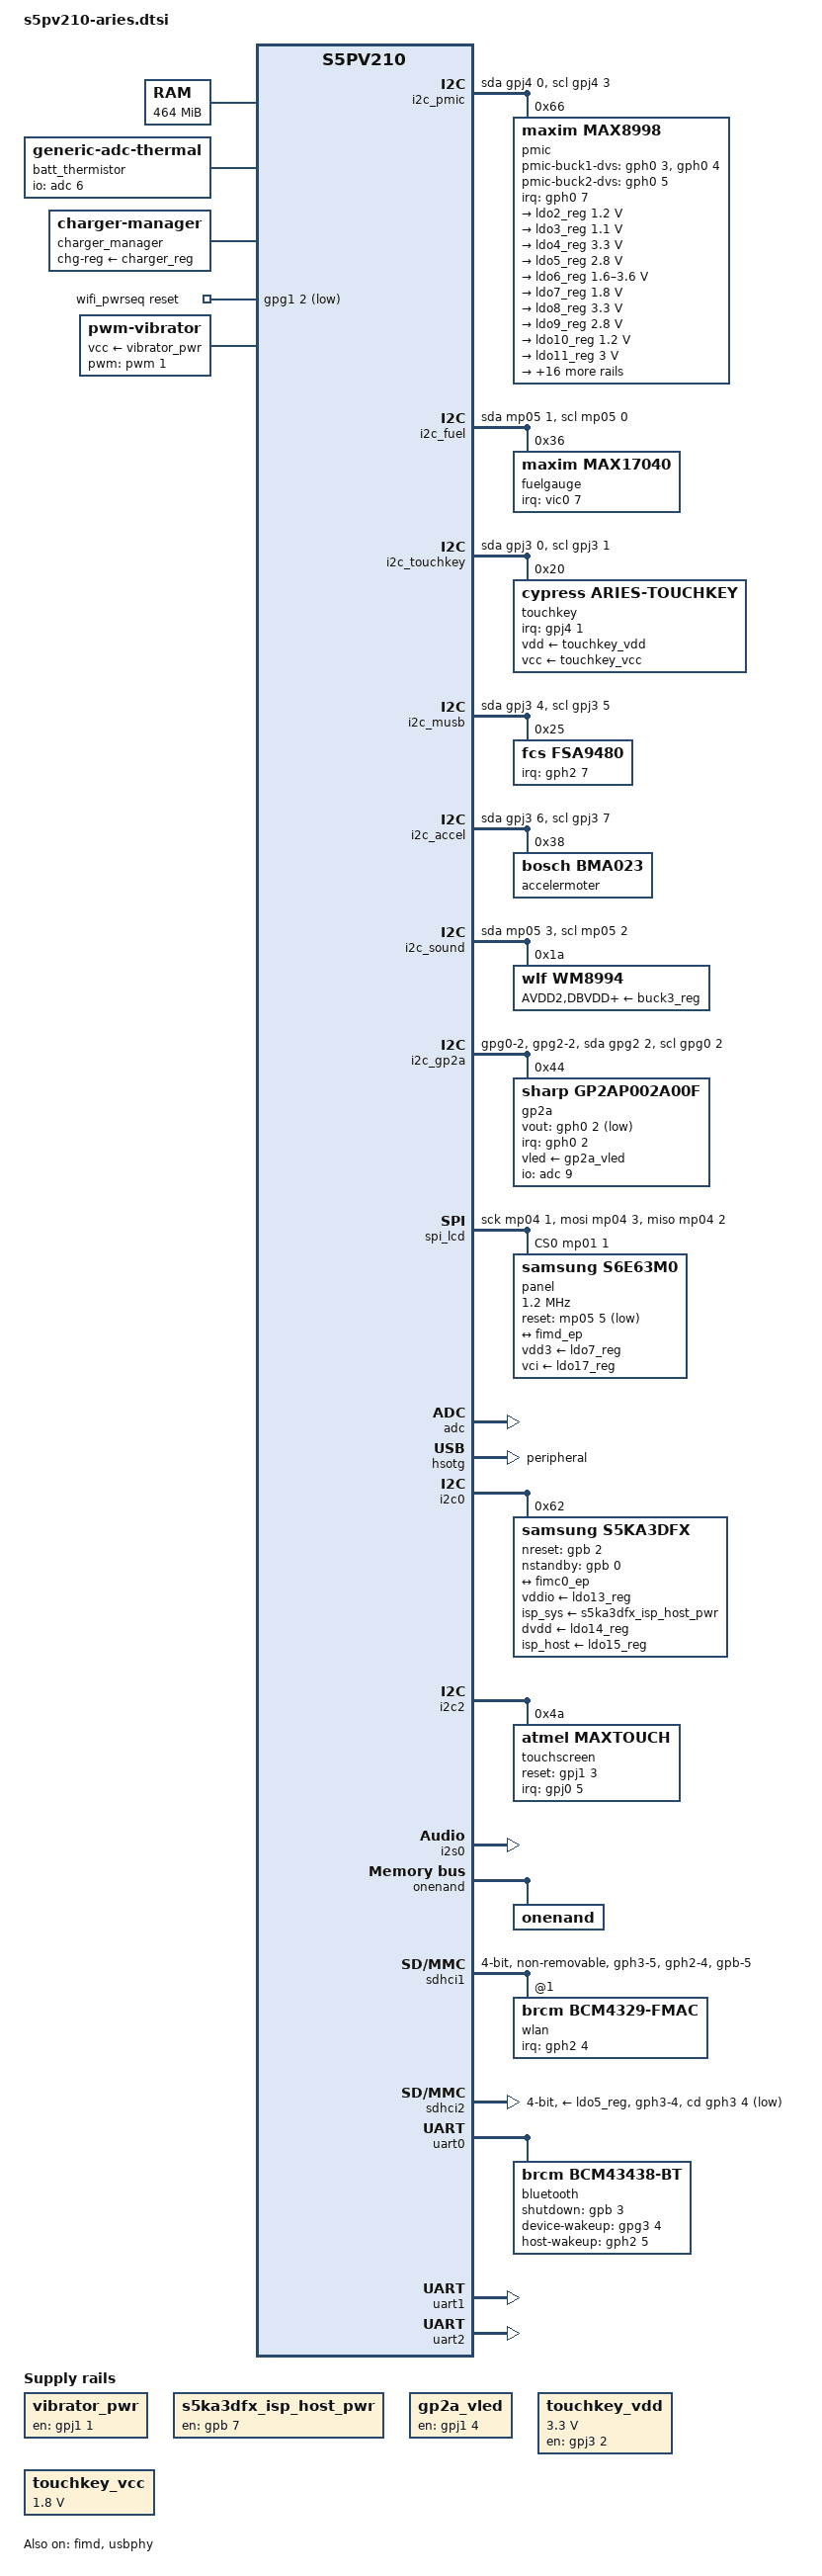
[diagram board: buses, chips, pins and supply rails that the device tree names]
// SPDX-License-Identifier: GPL-2.0
/*
 * Samsung's S5PV210 based Galaxy Aries board device tree source
 */

/dts-v1/;
#include <dt-bindings/gpio/gpio.h>
#include <dt-bindings/interrupt-controller/irq.h>
#include "s5pv210.dtsi"

/ {
	compatible = "samsung,aries", "samsung,s5pv210";

	aliases {
		i2c5 = &i2c_accel;
		i2c6 = &i2c_pmic;
		i2c7 = &i2c_musb;
		i2c9 = &i2c_fuel;
		i2c10 = &i2c_touchkey;
		i2c11 = &i2c_gp2a;
	};

	memory@30000000 {
		device_type = "memory";
		reg = <0x30000000 0x05000000
			0x40000000 0x10000000
			0x50000000 0x08000000>;
	};

	reserved-memory {
		#address-cells = <1>;
		#size-cells = <1>;
		ranges;

		mfc_left: region@43000000 {
			compatible = "shared-dma-pool";
			no-map;
			reg = <0x43000000 0x2000000>;
		};

		mfc_right: region@51000000 {
			compatible = "shared-dma-pool";
			no-map;
			reg = <0x51000000 0x2000000>;
		};
	};

	thermal-zones {
		batt_thermal: batt-thermal {
			polling-delay-passive = <60000>; /* 60 seconds */
			polling-delay = <600000>; /* 600 seconds */

			thermal-sensors = <&batt_thermistor>;
		};
	};

	batt_thermistor: thermal-sensor-0 {
		compatible = "generic-adc-thermal";
		#thermal-sensor-cells = <0>;
		io-channels = <&adc 6>;
		io-channel-names = "sensor-channel";

		temperature-lookup-table = <
			(-20000) 1859
			(-19000) 1846
			(-18000) 1832
			(-17000) 1818
			(-16000) 1804
			(-15000) 1790
			(-14000) 1773
			(-13000) 1756
			(-12000) 1739
			(-11000) 1722
			(-10000) 1705
			(-9000) 1691
			(-8000) 1677
			(-7000) 1663
			(-6000) 1649
			(-5000) 1635
			(-4000) 1550
			(-3000) 1510
			(-2000) 1500
			(-1000) 1490
			0 1480
			1000 1470
			2000 1460
			3000 1450
			4000 1430
			5000 1420
			6000 1406
			7000 1386
			8000 1366
			9000 1346
			10000 1326
			11000 1302
			12000 1278
			13000 1254
			14000 1230
			15000 1206
			16000 1182
			17000 1158
			18000 1134
			19000 1110
			20000 1086
			21000 1059
			22000 1035
			23000 1011
			24000 987
			25000 963
			26000 937
			27000 913
			28000 889
			29000 865
			30000 841
			31000 816
			32000 794
			33000 772
			34000 750
			35000 728
			36000 708
			37000 690
			38000 672
			39000 654
			40000 636
			41000 616
			42000 599
			43000 580
			44000 565
			45000 548
			46000 529
			47000 512
			48000 495
			49000 478
			50000 461
			51000 440
			52000 431
			53000 416
			54000 405
			55000 396
			56000 375
			57000 360
			58000 347
			59000 334
			60000 325
			61000 311
			62000 303
			63000 296
			64000 290
			65000 279
			66000 265
			67000 254
			68000 240
			69000 220
			70000 206>;
	};

	charger_manager: charger-manager@0 {
		compatible = "charger-manager";

		cm-name = "cm-battery";

		chg-reg-supply = <&charger_reg>;

		/* poll when externally connected */
		cm-poll-mode = <2>;
		cm-poll-interval = <30>;

		/* read supply status for status */
		cm-battery-stat = <0>;

		cm-battery-temp-diff = <5>;
		cm-battery-hot = <5000>;
		cm-battery-cold = <400>;
		cm-battery-cold-in-minus;

		/* 6hr max charging time */
		cm-charging-max = <21600000>;
		/* 1.5hr max discharging time */
		cm-discharging-max = <5400000>;

		cm-fuel-gauge = "battery";

		cm-fullbatt-vchkdrop-ms = <30000>;
		cm-fullbatt-vchkdrop-volt = <4130000>;
		cm-fullbatt-soc = <92>;

		cm-num-chargers = <1>;
		cm-chargers = "max8998_pmic";

		cm-thermal-zone = "batt-thermal";

		regulator@0 {
			cm-regulator-name = "chg-reg";
			cable@0 {
				cm-cable-name = "USB";
				cm-cable-extcon = "7-0025";
				cm-cable-min = <475000>;
				cm-cable-max = <500000>;
			};
			cable@1 {
				cm-cable-name = "TA";
				cm-cable-extcon = "7-0025";
				cm-cable-min = <380000>;
				cm-cable-max = <600000>;
			};
		};
	};

	vibrator_pwr: regulator-fixed-0 {
		compatible = "regulator-fixed";
		regulator-name = "vibrator-en";
		enable-active-high;
		gpio = <&gpj1 1 GPIO_ACTIVE_HIGH>;
	};

	s5ka3dfx_isp_host_pwr: regulator-fixed-1 {
		compatible = "regulator-fixed";
		regulator-name = "vga_isp_sys";
		enable-active-high;
		gpio = <&gpb 7 GPIO_ACTIVE_HIGH>;
	};

	wifi_pwrseq: wifi-pwrseq {
		compatible = "mmc-pwrseq-simple";
		reset-gpios = <&gpg1 2 GPIO_ACTIVE_LOW>;
		pinctrl-names = "default";
		pinctrl-0 = <&wlan_gpio_rst>;
		post-power-on-delay-ms = <500>;
		power-off-delay-us = <500>;
	};

	gp2a_vled: regulator-fixed-2 {
		compatible = "regulator-fixed";
		regulator-name = "VLED";
		enable-active-high;
		gpio = <&gpj1 4 GPIO_ACTIVE_HIGH>;

		pinctrl-names = "default";
		pinctrl-0 = <&gp2a_power>;
	};


	touchkey_vdd: touchkey-vcc {
		compatible = "regulator-fixed";
		regulator-name = "VTOUCH_3.3V";
		regulator-min-microvolt = <3300000>;
		regulator-max-microvolt = <3300000>;
		enable-active-high;
		gpio = <&gpj3 2 GPIO_ACTIVE_HIGH>;
	};

	touchkey_vcc: touchkey-vdd {
		compatible = "regulator-fixed";
		regulator-name = "VTOUCH_1.8V";
		regulator-min-microvolt = <1800000>;
		regulator-max-microvolt = <1800000>;
	};

	i2c_pmic: i2c-gpio-0 {
		compatible = "i2c-gpio";
		sda-gpios = <&gpj4 0 (GPIO_ACTIVE_HIGH | GPIO_OPEN_DRAIN)>;
		scl-gpios = <&gpj4 3 (GPIO_ACTIVE_HIGH | GPIO_OPEN_DRAIN)>;
		i2c-gpio,delay-us = <2>;
		#address-cells = <1>;
		#size-cells = <0>;

		pmic@66 {
			compatible = "maxim,max8998";
			reg = <0x66>;
			interrupt-parent = <&gph0>;
			interrupts = <7 IRQ_TYPE_EDGE_FALLING>;

			max8998,pmic-buck1-default-dvs-idx = <1>;
			max8998,pmic-buck1-dvs-gpios = <&gph0 3 GPIO_ACTIVE_HIGH>,
							<&gph0 4 GPIO_ACTIVE_HIGH>;
			max8998,pmic-buck1-dvs-voltage = <1275000>, <1200000>,
							<1050000>, <950000>;

			max8998,pmic-buck2-default-dvs-idx = <0>;
			max8998,pmic-buck2-dvs-gpio = <&gph0 5 GPIO_ACTIVE_HIGH>;
			max8998,pmic-buck2-dvs-voltage = <1100000>, <1000000>;

			wakeup-source;

			pinctrl-names = "default";
			pinctrl-0 = <&pmic_irq>;

			charger {
				maxim,end-of-charge-percentage = <20>;
				maxim,charge-timeout = <7>;
			};

			regulators {
				ldo2_reg: LDO2 {
					regulator-name = "VALIVE_1.2V";
					regulator-min-microvolt = <1200000>;
					regulator-max-microvolt = <1200000>;
					regulator-always-on;

					regulator-state-mem {
						regulator-on-in-suspend;
					};
				};

				ldo3_reg: LDO3 {
					regulator-name = "VUSB_1.1V";
					regulator-min-microvolt = <1100000>;
					regulator-max-microvolt = <1100000>;

					regulator-state-mem {
						regulator-off-in-suspend;
					};
				};

				ldo4_reg: LDO4 {
					regulator-name = "VADC_3.3V";
					regulator-min-microvolt = <3300000>;
					regulator-max-microvolt = <3300000>;
				};

				ldo5_reg: LDO5 {
					regulator-name = "VTF_2.8V";
					regulator-min-microvolt = <2800000>;
					regulator-max-microvolt = <2800000>;

					regulator-state-mem {
						regulator-off-in-suspend;
					};
				};

				ldo6_reg: LDO6 {
					regulator-name = "LDO6";
					regulator-min-microvolt = <1600000>;
					regulator-max-microvolt = <3600000>;
				};

				ldo7_reg: LDO7 {
					regulator-name = "VLCD_1.8V";
					regulator-min-microvolt = <1800000>;
					regulator-max-microvolt = <1800000>;

					regulator-state-mem {
						regulator-off-in-suspend;
					};
				};

				ldo8_reg: LDO8 {
					regulator-name = "VUSB_3.3V";
					regulator-min-microvolt = <3300000>;
					regulator-max-microvolt = <3300000>;

					regulator-state-mem {
						regulator-off-in-suspend;
					};
				};

				ldo9_reg: LDO9 {
					regulator-name = "VCC_2.8V_PDA";
					regulator-min-microvolt = <2800000>;
					regulator-max-microvolt = <2800000>;
					regulator-always-on;
				};

				ldo10_reg: LDO10 {
					regulator-name = "VPLL_1.2V";
					regulator-min-microvolt = <1200000>;
					regulator-max-microvolt = <1200000>;
					regulator-always-on;

					regulator-state-mem {
						regulator-on-in-suspend;
					};
				};

				ldo11_reg: LDO11 {
					regulator-name = "CAM_AF_3.0V";
					regulator-min-microvolt = <3000000>;
					regulator-max-microvolt = <3000000>;

					regulator-state-mem {
						regulator-off-in-suspend;
					};
				};

				ldo12_reg: LDO12 {
					regulator-name = "CAM_SENSOR_CORE_1.2V";
					regulator-min-microvolt = <1200000>;
					regulator-max-microvolt = <1200000>;

					regulator-state-mem {
						regulator-off-in-suspend;
					};
				};

				ldo13_reg: LDO13 {
					regulator-name = "VGA_VDDIO_2.8V";
					regulator-min-microvolt = <2800000>;
					regulator-max-microvolt = <2800000>;

					regulator-state-mem {
						regulator-off-in-suspend;
					};
				};

				ldo14_reg: LDO14 {
					regulator-name = "VGA_DVDD_1.8V";
					regulator-min-microvolt = <1800000>;
					regulator-max-microvolt = <1800000>;

					regulator-state-mem {
						regulator-off-in-suspend;
					};
				};

				ldo15_reg: LDO15 {
					regulator-name = "CAM_ISP_HOST_2.8V";
					regulator-min-microvolt = <2800000>;
					regulator-max-microvolt = <2800000>;

					regulator-state-mem {
						regulator-off-in-suspend;
					};
				};

				ldo16_reg: LDO16 {
					regulator-name = "VGA_AVDD_2.8V";
					regulator-min-microvolt = <2800000>;
					regulator-max-microvolt = <2800000>;

					regulator-state-mem {
						regulator-off-in-suspend;
					};
				};

				ldo17_reg: LDO17 {
					regulator-name = "VCC_3.0V_LCD";
					regulator-min-microvolt = <3000000>;
					regulator-max-microvolt = <3000000>;

					regulator-state-mem {
						regulator-off-in-suspend;
					};
				};

				buck1_reg: BUCK1 {
					regulator-name = "vddarm";
					regulator-min-microvolt = <750000>;
					regulator-max-microvolt = <1500000>;

					regulator-state-mem {
						regulator-off-in-suspend;
						regulator-suspend-microvolt = <1250000>;
					};
				};

				buck2_reg: BUCK2 {
					regulator-name = "vddint";
					regulator-min-microvolt = <750000>;
					regulator-max-microvolt = <1500000>;

					regulator-state-mem {
						regulator-off-in-suspend;
						regulator-suspend-microvolt = <1100000>;
					};
				};

				buck3_reg: BUCK3 {
					regulator-name = "VCC_1.8V";
					regulator-min-microvolt = <1800000>;
					regulator-max-microvolt = <1800000>;
					regulator-always-on;
				};

				buck4_reg: BUCK4 {
					regulator-name = "CAM_ISP_CORE_1.2V";
					regulator-min-microvolt = <1200000>;
					regulator-max-microvolt = <1200000>;

					regulator-state-mem {
						regulator-off-in-suspend;
					};
				};

				ap32khz_reg: EN32KHz-AP {
					regulator-name = "32KHz AP";
					regulator-always-on;
				};

				cp32khz_reg: EN32KHz-CP {
					regulator-name = "32KHz CP";
				};

				vichg_reg: ENVICHG {
					regulator-name = "VICHG";
					regulator-always-on;
				};

				safe1_sreg: ESAFEOUT1 {
					regulator-name = "SAFEOUT1";
				};

				safe2_sreg: ESAFEOUT2 {
					regulator-name = "SAFEOUT2";
				};

				charger_reg: CHARGER {
					regulator-name = "CHARGER";
					regulator-min-microamp = <90000>;
					regulator-max-microamp = <800000>;
				};
			};
		};
	};

	i2c_fuel: i2c-gpio-1 {
		compatible = "i2c-gpio";
		sda-gpios = <&mp05 1 (GPIO_ACTIVE_HIGH | GPIO_OPEN_DRAIN)>;
		scl-gpios = <&mp05 0 (GPIO_ACTIVE_HIGH | GPIO_OPEN_DRAIN)>;
		i2c-gpio,delay-us = <2>;
		#address-cells = <1>;
		#size-cells = <0>;

		fuelgauge@36 {
			compatible = "maxim,max17040";
			interrupt-parent = <&vic0>;
			interrupts = <7>;
			reg = <0x36>;
		};
	};

	i2c_touchkey: i2c-gpio-2 {
		compatible = "i2c-gpio";
		sda-gpios = <&gpj3 0 (GPIO_ACTIVE_HIGH | GPIO_OPEN_DRAIN)>;
		scl-gpios = <&gpj3 1 (GPIO_ACTIVE_HIGH | GPIO_OPEN_DRAIN)>;
		i2c-gpio,delay-us = <2>;
		#address-cells = <1>;
		#size-cells = <0>;

		touchkey@20 {
			compatible = "cypress,aries-touchkey";
			reg = <0x20>;
			vdd-supply = <&touchkey_vdd>;
			vcc-supply = <&touchkey_vcc>;
			linux,keycodes = <KEY_MENU KEY_BACK KEY_HOMEPAGE KEY_SEARCH>;
			interrupt-parent = <&gpj4>;
			interrupts = <1 IRQ_TYPE_LEVEL_LOW>;
			pinctrl-names = "default";
			pinctrl-0 = <&touchkey_irq>;
		};
	};

	i2c_musb: i2c-gpio-3 {
		compatible = "i2c-gpio";
		sda-gpios = <&gpj3 4 (GPIO_ACTIVE_HIGH | GPIO_OPEN_DRAIN)>;
		scl-gpios = <&gpj3 5 (GPIO_ACTIVE_HIGH | GPIO_OPEN_DRAIN)>;
		i2c-gpio,delay-us = <2>;
		#address-cells = <1>;
		#size-cells = <0>;

		fsa9480: musb@25 {
			compatible = "fcs,fsa9480";
			reg = <0x25>;
			interrupt-parent = <&gph2>;
			interrupts = <7 IRQ_TYPE_EDGE_FALLING>;
		};
	};

	i2c_accel: i2c-gpio-6 {
		compatible = "i2c-gpio";
		sda-gpios = <&gpj3 6 (GPIO_ACTIVE_HIGH | GPIO_OPEN_DRAIN)>;
		scl-gpios = <&gpj3 7 (GPIO_ACTIVE_HIGH | GPIO_OPEN_DRAIN)>;
		i2c-gpio,delay-us = <2>;
		#address-cells = <1>;
		#size-cells = <0>;

		accelermoter@38 {
			compatible = "bosch,bma023";
			reg = <0x38>;
		};
	};

	i2c_sound: i2c-gpio-7 {
		compatible = "i2c-gpio";
		sda-gpios = <&mp05 3 (GPIO_ACTIVE_HIGH | GPIO_OPEN_DRAIN)>;
		scl-gpios = <&mp05 2 (GPIO_ACTIVE_HIGH | GPIO_OPEN_DRAIN)>;
		i2c-gpio,delay-us = <2>;
		#address-cells = <1>;
		#size-cells = <0>;

		wm8994: wm8994@1a {
			compatible = "wlf,wm8994";
			reg = <0x1a>;

			#sound-dai-cells = <0>;

			gpio-controller;
			#gpio-cells = <2>;

			clocks = <&clocks MOUT_CLKOUT>;
			clock-names = "MCLK1";

			AVDD2-supply = <&buck3_reg>;
			DBVDD-supply = <&buck3_reg>;
			CPVDD-supply = <&buck3_reg>;
			SPKVDD1-supply = <&buck3_reg>;
			SPKVDD2-supply = <&buck3_reg>;

			wlf,gpio-cfg = <0xa101 0x8100 0x0100 0x0100 0x8100 0xa101
					0x0100 0x8100 0x0100 0x0100 0x0100>;

			wlf,ldo1ena = <&gpf3 4 GPIO_ACTIVE_HIGH>;
			wlf,ldo2ena = <&gpf3 4 GPIO_ACTIVE_HIGH>;

			wlf,lineout1-se;
			wlf,lineout2-se;

			assigned-clocks = <&clocks MOUT_CLKOUT>;
			assigned-clock-rates = <0>;
			assigned-clock-parents = <&xusbxti>;

			pinctrl-names = "default";
			pinctrl-0 = <&codec_ldo>;
		};
	};

	i2c_gp2a: i2c-gpio-8 {
		compatible = "i2c-gpio";
		sda-gpios = <&gpg2 2 (GPIO_ACTIVE_HIGH | GPIO_OPEN_DRAIN)>;
		scl-gpios = <&gpg0 2 (GPIO_ACTIVE_HIGH | GPIO_OPEN_DRAIN)>;
		i2c-gpio,delay-us = <2>;
		#address-cells = <1>;
		#size-cells = <0>;

		pinctrl-names = "default";
		pinctrl-0 = <&gp2a_i2c>;

		gp2a@44 {
			compatible = "sharp,gp2ap002a00f";
			reg = <0x44>;
			vout-gpio = <&gph0 2 GPIO_ACTIVE_LOW>;
			vled-supply = <&gp2a_vled>;
			interrupt-parent = <&gph0>;
			interrupts = <2 IRQ_TYPE_EDGE_BOTH>;
			io-channels = <&adc 9>;
			io-channel-names = "light";

			wakeup-source;

			pinctrl-names = "default";
			pinctrl-0 = <&gp2a_irq>;
		};
	};

	vibrator: pwm-vibrator {
		compatible = "pwm-vibrator";
		pwms = <&pwm 1 44642 0>;
		pwm-names = "enable";
		vcc-supply = <&vibrator_pwr>;
		pinctrl-names = "default";
		pinctrl-0 = <&pwm1_out>;
	};

	poweroff: syscon-poweroff {
		compatible = "syscon-poweroff";
		regmap = <&pmu_syscon>;
		offset = <0x681c>; /* PS_HOLD_CONTROL */
		value = <0x5200>;
	};

	spi_lcd: spi-gpio-0 {
		compatible = "spi-gpio";
		#address-cells = <1>;
		#size-cells = <0>;

		sck-gpios = <&mp04 1 GPIO_ACTIVE_HIGH>;
		miso-gpios = <&mp04 2 GPIO_ACTIVE_HIGH>;
		mosi-gpios = <&mp04 3 GPIO_ACTIVE_HIGH>;
		cs-gpios = <&mp01 1 GPIO_ACTIVE_HIGH>;
		num-chipselects = <1>;

		panel@0 {
			compatible = "samsung,s6e63m0";
			reg = <0>;
			reset-gpios = <&mp05 5 GPIO_ACTIVE_LOW>;
			vdd3-supply = <&ldo7_reg>;
			vci-supply = <&ldo17_reg>;
			spi-cs-high;
			spi-max-frequency = <1200000>;

			port {
				lcd_ep: endpoint {
					remote-endpoint = <&fimd_ep>;
				};
			};
		};
	};
};

&camera {
	pinctrl-0 = <&cam_port_a_io &cam_port_a_clk_active>;
	pinctrl-1 = <&cam_port_a_io &cam_port_a_clk_idle>;
	pinctrl-names = "default", "idle";

	parallel-ports {
		#address-cells = <1>;
		#size-cells = <0>;

		/* camera A input */
		port@1 {
			reg = <1>;
			fimc0_ep: endpoint {
				remote-endpoint = <&s5ka3dfx_ep>;
				bus-type = <5>; /* Parallel */
				bus-width = <8>;
				field-even-active = <1>;
				hsync-active = <1>;
				vsync-active = <0>;
				pclk-sample = <1>;
			};
		};
	};
};

&fimc0 {
	clock-frequency = <166750000>;

	assigned-clocks = <&clocks MOUT_FIMC0>;
	assigned-clock-parents = <&clocks MOUT_MPLL>;
};

&fimc1 {
	clock-frequency = <166750000>;

	assigned-clocks = <&clocks MOUT_FIMC1>;
	assigned-clock-parents = <&clocks MOUT_MPLL>;
};

&fimc2 {
	clock-frequency = <166750000>;

	assigned-clocks = <&clocks MOUT_FIMC2>;
	assigned-clock-parents = <&clocks MOUT_MPLL>;
};

&adc {
	vdd-supply = <&ldo4_reg>;

	status = "okay";
};

&fimd {
	pinctrl-names = "default";
	pinctrl-0 = <&lcd_clk &lcd_data24>;
	status = "okay";

	samsung,invert-vden;
	samsung,invert-vclk;

	#address-cells = <1>;
	#size-cells = <0>;

	port@3 {
		reg = <3>;
		fimd_ep: endpoint {
			remote-endpoint = <&lcd_ep>;
		};
	};
};

&hsotg {
	vusb_a-supply = <&ldo8_reg>;
	vusb_d-supply = <&ldo3_reg>;
	dr_mode = "peripheral";
	status = "okay";
};

&i2c0 {
	samsung,i2c-sda-delay = <100>;
	samsung,i2c-max-bus-freq = <100000>;
	samsung,i2c-slave-addr = <0x10>;
	status = "okay";

	s5ka3dfx: sensor@62 {
		compatible = "samsung,s5ka3dfx";
		reg = <0x62>;

		clocks = <&camera 0>;
		clock-names = "mclk";

		vddio-supply = <&ldo13_reg>;
		isp_sys-supply = <&s5ka3dfx_isp_host_pwr>;
		dvdd-supply = <&ldo14_reg>;
		isp_host-supply = <&ldo15_reg>;

		nreset-gpios = <&gpb 2 GPIO_ACTIVE_HIGH>;
		nstandby-gpios = <&gpb 0 GPIO_ACTIVE_HIGH>;

		assigned-clocks = <&clocks MOUT_CAM0>, <&clocks DOUT_CAM0>;
		assigned-clock-parents = <&xusbxti>;
		assigned-clock-rates = <0>, <24000000>;

		port {
			s5ka3dfx_ep: endpoint {
				remote-endpoint = <&fimc0_ep>;
				bus-type = <5>; /* Parallel */
				bus-width = <8>;
				hsync-active = <0>;
				vsync-active = <1>;
				pclk-sample = <1>;
			};
		};
	};
};

&i2c2 {
	samsung,i2c-sda-delay = <100>;
	samsung,i2c-max-bus-freq = <400000>;
	samsung,i2c-slave-addr = <0x10>;
	status = "okay";

	touchscreen@4a {
		compatible = "atmel,maxtouch";
		reg = <0x4a>;
		interrupt-parent = <&gpj0>;
		interrupts = <5 IRQ_TYPE_EDGE_FALLING>;
		pinctrl-names = "default";
		pinctrl-0 = <&ts_irq>;
		reset-gpios = <&gpj1 3 GPIO_ACTIVE_HIGH>;
	};
};

&i2s0 {
	dmas = <&pdma0 9>, <&pdma0 10>, <&pdma0 11>;
	status = "ok";
};

&mfc {
	memory-region = <&mfc_left>, <&mfc_right>;
};

&onenand {
	status = "okay";

	onenand@b0000000 {
		reg = <0xb0000000 0x20000>;
		#address-cells = <1>;
		#size-cells = <1>;
	};
};

&pinctrl0 {
	codec_ldo: codec-ldo {
		samsung,pins = "gpf3-4";
		samsung,pin-function = <EXYNOS_PIN_FUNC_OUTPUT>;
		samsung,pin-pud = <S3C64XX_PIN_PULL_NONE>;
	};

	codec_i2c: codec-i2c {
		samsung,pins = "mp05-3", "mp05-2";
		samsung,pin-function = <EXYNOS_PIN_FUNC_INPUT>;
		samsung,pin-pud = <S3C64XX_PIN_PULL_NONE>;
	};

	wlan_bt_en: wlan-bt-en {
		samsung,pins = "gpb-5";
		samsung,pin-function = <EXYNOS_PIN_FUNC_OUTPUT>;
		samsung,pin-pud = <S3C64XX_PIN_PULL_NONE>;
		samsung,pin-val = <1>;
	};

	wlan_gpio_rst: wlan-gpio-rst {
		samsung,pins = "gpg1-2";
		samsung,pin-function = <EXYNOS_PIN_FUNC_OUTPUT>;
		samsung,pin-pud = <S3C64XX_PIN_PULL_NONE>;
	};

	wifi_host_wake: wifi-host-wake {
		samsung,pins = "gph2-4";
		samsung,pin-function = <EXYNOS_PIN_FUNC_INPUT>;
		samsung,pin-pud = <S3C64XX_PIN_PULL_DOWN>;
		samsung,pin-drv = <EXYNOS4_PIN_DRV_LV1>;
	};

	bt_host_wake: bt-host-wake {
		samsung,pins = "gph2-5";
		samsung,pin-function = <EXYNOS_PIN_FUNC_INPUT>;
		samsung,pin-pud = <S3C64XX_PIN_PULL_DOWN>;
		samsung,pin-drv = <EXYNOS4_PIN_DRV_LV1>;
	};

	tf_detect: tf-detect {
		samsung,pins = "gph3-4";
		samsung,pin-function = <EXYNOS_PIN_FUNC_INPUT>;
		samsung,pin-pud = <S3C64XX_PIN_PULL_DOWN>;
		samsung,pin-drv = <EXYNOS4_PIN_DRV_LV1>;
	};

	wifi_wake: wifi-wake {
		samsung,pins = "gph3-5";
		samsung,pin-function = <EXYNOS_PIN_FUNC_OUTPUT>;
		samsung,pin-pud = <S3C64XX_PIN_PULL_NONE>;
	};

	ts_irq: ts-irq {
		samsung,pins = "gpj0-5";
		samsung,pin-function = <EXYNOS_PIN_FUNC_INPUT>;
		samsung,pin-pud = <S3C64XX_PIN_PULL_NONE>;
		samsung,pin-drv = <EXYNOS4_PIN_DRV_LV1>;
	};

	touchkey_irq: touchkey-irq {
		samsung,pins = "gpj4-1";
		samsung,pin-function = <EXYNOS_PIN_FUNC_INPUT>;
		samsung,pin-pud = <S3C64XX_PIN_PULL_UP>;
		samsung,pin-drv = <EXYNOS4_PIN_DRV_LV1>;
	};

	pmic_irq: pmic-irq {
		samsung,pins = "gph0-7";
		samsung,pin-function = <EXYNOS_PIN_FUNC_F>;
		samsung,pin-pud = <S3C64XX_PIN_PULL_NONE>;
		samsung,pin-drv = <EXYNOS4_PIN_DRV_LV1>;
	};


	gp2a_irq: gp2a-irq {
		samsung,pins = "gph0-2";
		samsung,pin-function = <EXYNOS_PIN_FUNC_F>;
		samsung,pin-pud = <S3C64XX_PIN_PULL_DOWN>;
		samsung,pin-drv = <EXYNOS4_PIN_DRV_LV1>;
	};

	gp2a_power: gp2a-power {
		samsung,pins = "gpj1-4";
		samsung,pin-function = <EXYNOS_PIN_FUNC_OUTPUT>;
		samsung,pin-pud = <S3C64XX_PIN_PULL_NONE>;
		samsung,pin-drv = <EXYNOS4_PIN_DRV_LV1>;
	};

	gp2a_i2c: gp2a-i2c {
		samsung,pins = "gpg0-2", "gpg2-2";
		samsung,pin-function = <EXYNOS_PIN_FUNC_F>;
		samsung,pin-pud = <S3C64XX_PIN_PULL_NONE>;
		samsung,pin-drv = <EXYNOS4_PIN_DRV_LV1>;
	};
};

&pwm {
	samsung,pwm-outputs = <1>;
};

&sdhci1 {
	#address-cells = <1>;
	#size-cells = <0>;

	bus-width = <4>;
	max-frequency = <38400000>;
	pinctrl-0 = <&sd1_clk &sd1_cmd &sd1_bus4 &wifi_wake &wifi_host_wake &wlan_bt_en>;
	pinctrl-names = "default";
	cap-sd-highspeed;
	cap-mmc-highspeed;
	keep-power-in-suspend;

	mmc-pwrseq = <&wifi_pwrseq>;
	non-removable;
	status = "okay";

	wlan@1 {
		reg = <1>;
		compatible = "brcm,bcm4329-fmac";
		interrupt-parent = <&gph2>;
		interrupts = <4 IRQ_TYPE_LEVEL_HIGH>;
		interrupt-names = "host-wake";
	};
};

&sdhci2 {
	bus-width = <4>;
	cd-gpios = <&gph3 4 GPIO_ACTIVE_LOW>;
	vmmc-supply = <&ldo5_reg>;
	pinctrl-0 = <&sd2_clk &sd2_cmd &sd2_bus4 &tf_detect>;
	pinctrl-names = "default";
	status = "okay";
};

&uart0 {
	status = "okay";

	bluetooth {
		compatible = "brcm,bcm43438-bt";
		max-speed = <3000000>;
		pinctrl-names = "default";
		pinctrl-0 = <&uart0_data &uart0_fctl &bt_host_wake>;
		shutdown-gpios = <&gpb 3 GPIO_ACTIVE_HIGH>;
		device-wakeup-gpios = <&gpg3 4 GPIO_ACTIVE_HIGH>;
		host-wakeup-gpios = <&gph2 5 GPIO_ACTIVE_HIGH>;
	};
};

&uart1 {
	status = "okay";
};

&uart2 {
	status = "okay";
};

&usbphy {
	status = "okay";
	vbus-supply = <&safe1_sreg>;
};

&xusbxti {
	clock-frequency = <24000000>;
};
